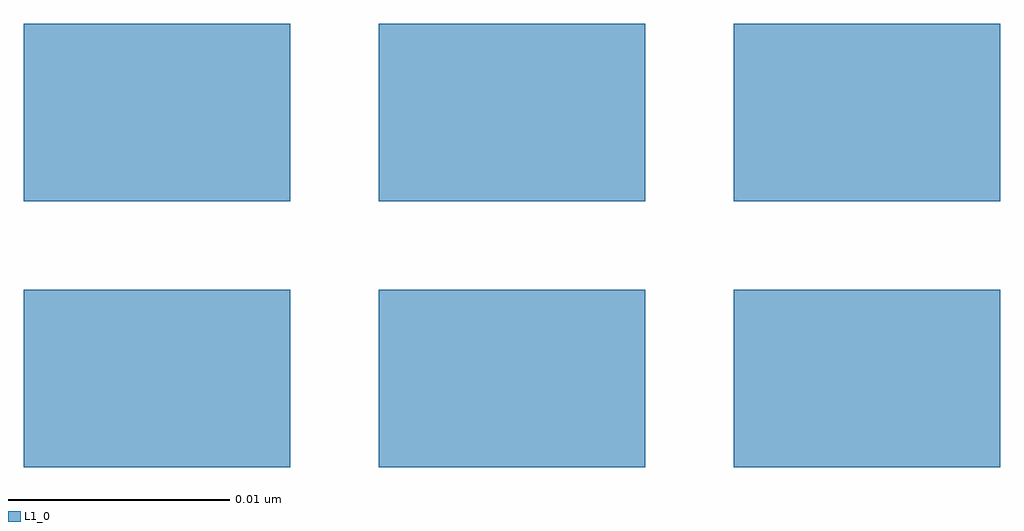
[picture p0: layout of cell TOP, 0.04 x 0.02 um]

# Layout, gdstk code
import gdstk
lib = gdstk.Library(unit=1e-6, precision=1e-09)
def R(c, l, rs):  # rectangles x0, y0, x1, y1
    for r in rs: c.add(gdstk.rectangle(r[:2], r[2:], *l))
L1_0 = (1, 0)

brick = lib.new_cell('BRICK')
R(brick, L1_0, [(0,0,0.012,0.008)])

top = lib.new_cell('TOP')
r = gdstk.Reference(brick, (0,0)); r.repetition = gdstk.Repetition(3, 2, v1=(0.016,0), v2=(0,0.012)); top.add(r)
top.add(gdstk.Label('GRAD', (0,0.03), layer=2, texttype=0))

lib.write_gds('TOP.gds')
